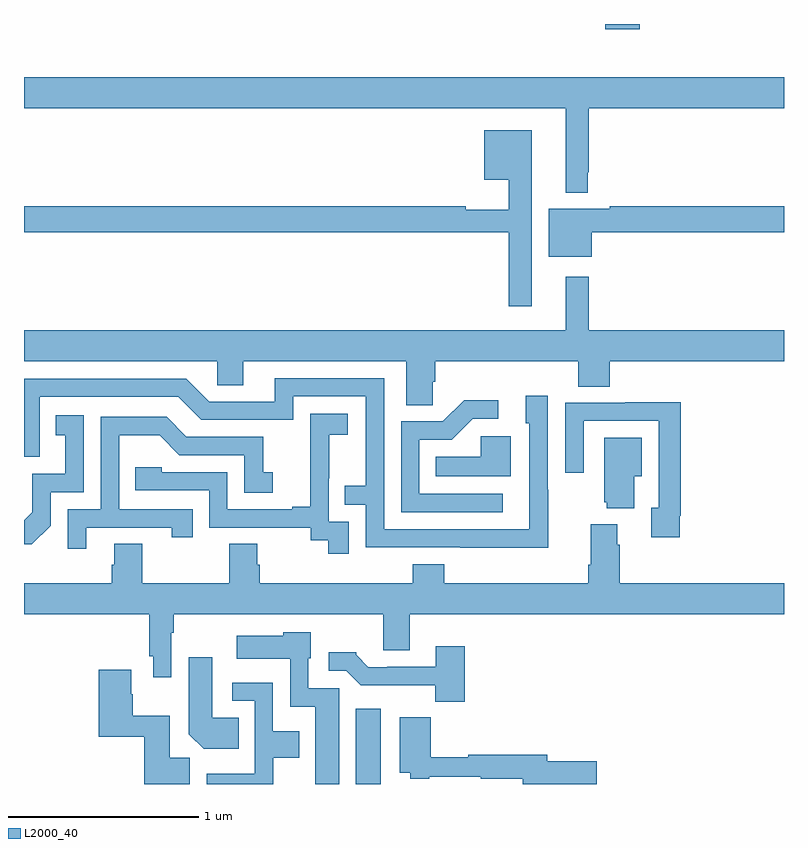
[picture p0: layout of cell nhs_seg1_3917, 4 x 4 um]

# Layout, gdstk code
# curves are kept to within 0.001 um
import gdstk
lib = gdstk.Library(unit=1e-6, precision=1e-09)
def R(c, l, rs):  # rectangles x0, y0, x1, y1
    for r in rs: c.add(gdstk.rectangle(r[:2], r[2:], *l))
def P(c, l, *ps):  # polygons
    for p in ps: c.add(gdstk.Polygon(p, *l))
L2000_40 = (2000, 40)

nhs_seg1_3917 = lib.new_cell('nhs_seg1_3917')
R(nhs_seg1_3917, L2000_40, [(326.747,524.199,326.878,524.596), (328.058,528.171,328.241,528.199)])
P(nhs_seg1_3917, L2000_40, [(327.966,527.419),(327.973,527.419),(327.973,527.756),(329,527.756),(329,527.92),(325,527.92),(325,527.756),(327.851,527.756),(327.851,527.312),(327.966,527.312)],
  [(327.673,527.641),(327.422,527.641),(327.422,527.378),(327.552,527.378),(327.552,527.221),(327.326,527.221),(327.326,527.24),(325,527.24),(325,527.104),(327.552,527.104),(327.552,526.713),(327.673,526.713)],
  [(327.988,527.104),(329,527.104),(329,527.24),(328.084,527.24),(328.084,527.227),(327.761,527.227),(327.761,526.973),(327.988,526.973)],
  [(327.15,526.315),(327.164,526.315),(327.164,526.424),(327.917,526.424),(327.917,526.291),(328.082,526.291),(328.082,526.424),(329,526.424),(329,526.588),(327.973,526.588),(327.973,526.87),(327.851,526.87),(327.851,526.588),(325,526.588),(325,526.424),(326.016,526.424),(326.016,526.297),(326.155,526.297),(326.155,526.424),(327.011,526.424),(327.011,526.192),(327.15,526.192)],
  [(327.759,525.749),(327.756,525.749),(327.756,526.243),(327.641,526.243),(327.641,526.098),(327.66,526.098),(327.659,525.54),(326.895,525.54),(326.895,526.335),(326.321,526.335),(326.321,526.212),(325.974,526.212),(325.854,526.332),(325,526.332),(325,525.921),(325.083,525.921),(325.083,526.236),(325.812,526.236),(325.932,526.116),(326.418,526.116),(326.418,526.239),(326.799,526.239),(326.799,525.77),(326.689,525.77),(326.689,525.669),(326.799,525.669),(326.799,525.444),(327.759,525.443)],
  [(327.52,525.726),(327.081,525.726),(327.081,526.011),(327.25,526.011),(327.361,526.122),(327.496,526.122),(327.496,526.22),(327.317,526.22),(327.204,526.107),(326.985,526.107),(326.985,525.63),(327.52,525.63)],
  [(328.45,525.61),(328.457,525.61),(328.457,526.208),(328.165,526.208),(328.165,526.206),(327.849,526.206),(327.849,525.837),(327.945,525.837),(327.945,526.11),(328.341,526.11),(328.341,525.654),(328.301,525.654),(328.301,525.498),(328.45,525.498)],
  [(326.709,525.579),(326.604,525.579),(326.604,525.809),(326.606,525.809),(326.606,526.037),(326.704,526.037),(326.704,526.147),(326.506,526.147),(326.506,525.941),(326.507,525.941),(326.507,525.658),(326.411,525.658),(326.411,525.645),(326.07,525.645),(326.07,525.84),(325.725,525.84),(325.725,525.867),(325.585,525.867),(325.585,525.744),(325.974,525.744),(325.974,525.549),(326.508,525.549),(326.508,525.481),(326.601,525.481),(326.601,525.411),(326.709,525.411)],
  [(325.14,525.558),(325.14,525.735),(325.314,525.735),(325.314,526.141),(325.168,526.141),(325.168,526.035),(325.217,526.035),(325.217,525.831),(325.044,525.831),(325.044,525.63),(325,525.586),(325,525.461),(325.042,525.461)],
  [(325.327,525.549),(325.778,525.549),(325.778,525.498),(325.889,525.498),(325.889,525.645),(325.5,525.645),(325.5,526.034),(325.714,526.034),(325.818,525.93),(326.16,525.93),(326.16,525.732),(326.308,525.732),(326.308,525.841),(326.259,525.841),(326.259,526.026),(325.855,526.026),(325.75,526.131),(325.404,526.131),(325.404,525.645),(325.23,525.645),(325.23,525.438),(325.327,525.438)],
  [(327.562,526.03),(327.405,526.03),(327.405,525.922),(327.166,525.922),(327.166,525.818),(327.562,525.818)],
  [(328.213,525.818),(328.252,525.818),(328.252,526.021),(328.055,526.021),(328.055,525.681),(328.067,525.681),(328.067,525.65),(328.213,525.65)],
  [(325.66,524.872),(325.68,524.872),(325.68,524.76),(325.776,524.76),(325.776,524.996),(325.789,524.996),(325.789,525.092),(326.891,525.092),(326.891,524.902),(327.031,524.902),(327.031,525.092),(329,525.092),(329,525.256),(328.136,525.256),(328.136,525.458),(328.123,525.458),(328.123,525.565),(327.983,525.565),(327.983,525.352),(327.971,525.352),(327.971,525.256),(327.212,525.256),(327.212,525.355),(327.047,525.355),(327.047,525.256),(326.24,525.256),(326.24,525.354),(326.227,525.354),(326.227,525.464),(326.08,525.464),(326.08,525.256),(325.623,525.256),(325.623,525.464),(325.475,525.464),(325.475,525.354),(325.463,525.354),(325.463,525.256),(325,525.256),(325,525.092),(325.66,525.092)],
  [(326.659,524.703),(326.496,524.703),(326.496,524.862),(326.509,524.862),(326.509,524.998),(326.364,524.998),(326.364,524.98),(326.121,524.98),(326.121,524.858),(326.4,524.858),(326.4,524.606),(326.534,524.606),(326.534,524.199),(326.659,524.199)],
  [(327.32,524.923),(327.167,524.923),(327.167,524.817),(326.911,524.817),(326.911,524.814),(326.812,524.814),(326.748,524.878),(326.748,524.893),(326.604,524.893),(326.604,524.796),(326.697,524.796),(326.773,524.72),(327.165,524.72),(327.165,524.633),(327.32,524.633)],
  [(326.129,524.548),(325.99,524.548),(325.99,524.866),(325.868,524.866),(325.868,524.462),(325.946,524.384),(326.129,524.384)],
  [(325.873,524.336),(325.768,524.336),(325.768,524.557),(325.572,524.557),(325.572,524.672),(325.564,524.672),(325.564,524.8),(325.394,524.8),(325.394,524.447),(325.634,524.447),(325.634,524.199),(325.873,524.199)],
  [(326.313,524.336),(326.449,524.336),(326.449,524.476),(326.31,524.476),(326.31,524.733),(326.097,524.733),(326.097,524.637),(326.214,524.637),(326.214,524.254),(325.961,524.254),(325.961,524.199),(326.313,524.199)],
  [(328.015,524.318),(327.754,524.318),(327.754,524.354),(327.338,524.354),(327.338,524.339),(327.14,524.339),(327.14,524.551),(326.978,524.551),(326.978,524.258),(327.033,524.258),(327.033,524.226),(327.133,524.226),(327.133,524.238),(327.403,524.238),(327.403,524.226),(327.626,524.226),(327.626,524.199),(328.015,524.199)])

lib.write_gds('nhs_seg1_3917.gds')
